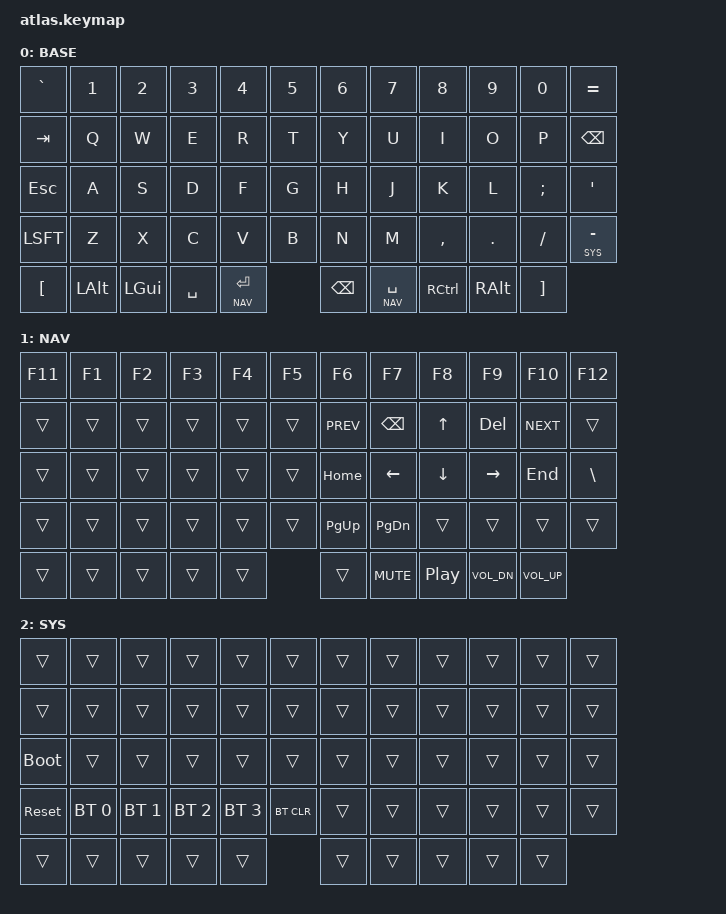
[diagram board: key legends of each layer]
#include <behaviors.dtsi>
#include <dt-bindings/zmk/keys.h>
#include <dt-bindings/zmk/bt.h>

#define BASE 0
#define NAV  1
#define SYS  2

#define ___ &trans
#define XXX &none

// ┌──────┬────┬────┬────┬────┬────┐   ┌────┬────┬────┬────┬────┬──────┐
// │  `   │  1 │  2 │  3 │  4 │  5 │   │  6 │  7 │  8 │  9 │  0 │  =   │
// ├──────┼────┼────┼────┼────┼────┤   ├────┼────┼────┼────┼────┼──────┤
// │ TAB  │  Q │  W │  E │  R │  T │   │  Y │  U │  I │  O │  P │ BSPC │
// ├──────┼────┼────┼────┼────┼────┤   ├────┼────┼────┼────┼────┼──────┤
// │ ESC  │  A │  S │  D │  F │  G │   │  H │  J │  K │  L │  ; │  '   │
// ├──────┼────┼────┼────┼────┼────┤   ├────┼────┼────┼────┼────┼──────┤
// │ LSFT │  Z │  X │  C │  V │  B │   │  N │  M │  , │  . │  / │ -/SYS│
// └──────┴────┴────┴────┴────┴────┘   └────┴────┴────┴────┴────┴──────┘
//        ┌──────┬──────┬──────┬──────┬──────┐ ┌──────┬──────┬──────┬──────┬──────┐
//        │  [   │ LALT │ LGUI │ SPC  │ NAV/↵│ │ BSPC │NAV/SP│ RCTL │ RALT │  ]   │
//        └──────┴──────┴──────┴──────┴──────┘ └──────┴──────┴──────┴──────┴──────┘
//                                        hold for NAV ┘       └ hold for NAV

/ {
    keymap {
        compatible = "zmk,keymap";

        base_layer {
            label = "BASE";
            bindings = <
// ┌──────┬────┬────┬────┬────┬────┐   ┌────┬────┬────┬────┬────┬──────┐
   &kp GRAVE &kp N1    &kp N2    &kp N3    &kp N4    &kp N5      &kp N6    &kp N7    &kp N8    &kp N9    &kp N0    &kp EQUAL
// ├──────┼────┼────┼────┼────┼────┤   ├────┼────┼────┼────┼────┼──────┤
   &kp TAB   &kp Q     &kp W     &kp E     &kp R     &kp T       &kp Y     &kp U     &kp I     &kp O     &kp P     &kp BSPC
// ├──────┼────┼────┼────┼────┼────┤   ├────┼────┼────┼────┼────┼──────┤
   &kp ESC   &kp A     &kp S     &kp D     &kp F     &kp G       &kp H     &kp J     &kp K     &kp L     &kp SEMI  &kp SQT
// ├──────┼────┼────┼────┼────┼────┤   ├────┼────┼────┼────┼────┼──────┤
   &kp LSFT  &kp Z     &kp X     &kp C     &kp V     &kp B       &kp N     &kp M     &kp COMMA &kp DOT   &kp FSLH  &lt SYS MINUS
// └──────┴────┴────┴────┴────┴────┘   └────┴────┴────┴────┴────┴──────┘
//        ┌──────┬──────┬──────┬──────┬──────┐ ┌──────┬──────┬──────┬──────┬──────┐
   &kp LBKT  &kp LALT  &kp LGUI  &kp SPACE &lt NAV RET     &kp BSPC  &lt NAV SPACE &kp RCTRL &kp RALT  &kp RBKT
//        └──────┴──────┴──────┴──────┴──────┘ └──────┴──────┴──────┴──────┴──────┘
            >;
        };

        nav_layer {
            label = "NAV";
            bindings = <
// ┌──────┬────┬────┬────┬────┬────┐   ┌────┬────┬────┬────┬────┬──────┐
   &kp F11   &kp F1    &kp F2    &kp F3    &kp F4    &kp F5      &kp F6    &kp F7    &kp F8    &kp F9    &kp F10   &kp F12
// ├──────┼────┼────┼────┼────┼────┤   ├────┼────┼────┼────┼────┼──────┤
   ___       ___       ___       ___       ___       ___         &kp C_PREV &kp BSPC  &kp UP    &kp DEL   &kp C_NEXT ___
// ├──────┼────┼────┼────┼────┼────┤   ├────┼────┼────┼────┼────┼──────┤
   ___       ___       ___       ___       ___       ___         &kp HOME  &kp LEFT  &kp DOWN  &kp RIGHT &kp END   &kp BSLH
// ├──────┼────┼────┼────┼────┼────┤   ├────┼────┼────┼────┼────┼──────┤
   ___       ___       ___       ___       ___       ___         &kp PG_UP &kp PG_DN ___       ___       ___       ___
// └──────┴────┴────┴────┴────┴────┘   └────┴────┴────┴────┴────┴──────┘
//        ┌──────┬──────┬──────┬──────┬──────┐ ┌──────┬──────┬──────┬──────┬──────┐
   ___       ___       ___       ___       ___       ___         &kp C_MUTE &kp C_PP  &kp C_VOL_DN &kp C_VOL_UP
//        └──────┴──────┴──────┴──────┴──────┘ └──────┴──────┴──────┴──────┴──────┘
            >;
        };

        sys_layer {
            label = "SYS";
            bindings = <
// ┌──────┬────┬────┬────┬────┬────┐   ┌────┬────┬────┬────┬────┬──────┐
   ___       ___       ___       ___       ___       ___         ___       ___       ___       ___       ___       ___
// ├──────┼────┼────┼────┼────┼────┤   ├────┼────┼────┼────┼────┼──────┤
   ___       ___       ___       ___       ___       ___         ___       ___       ___       ___       ___       ___
// ├──────┼────┼────┼────┼────┼────┤   ├────┼────┼────┼────┼────┼──────┤
   &bootloader ___     ___       ___       ___       ___         ___       ___       ___       ___       ___       ___
// ├──────┼────┼────┼────┼────┼────┤   ├────┼────┼────┼────┼────┼──────┤
   &sys_reset &bt BT_SEL 0 &bt BT_SEL 1 &bt BT_SEL 2 &bt BT_SEL 3 &bt BT_CLR    ___       ___       ___       ___       ___       ___
// └──────┴────┴────┴────┴────┴────┘   └────┴────┴────┴────┴────┴──────┘
//        ┌──────┬──────┬──────┬──────┬──────┐ ┌──────┬──────┬──────┬──────┬──────┐
   ___       ___       ___       ___       ___       ___         ___       ___       ___       ___
//        └──────┴──────┴──────┴──────┴──────┘ └──────┴──────┴──────┴──────┴──────┘
            >;
        };
    };
};
